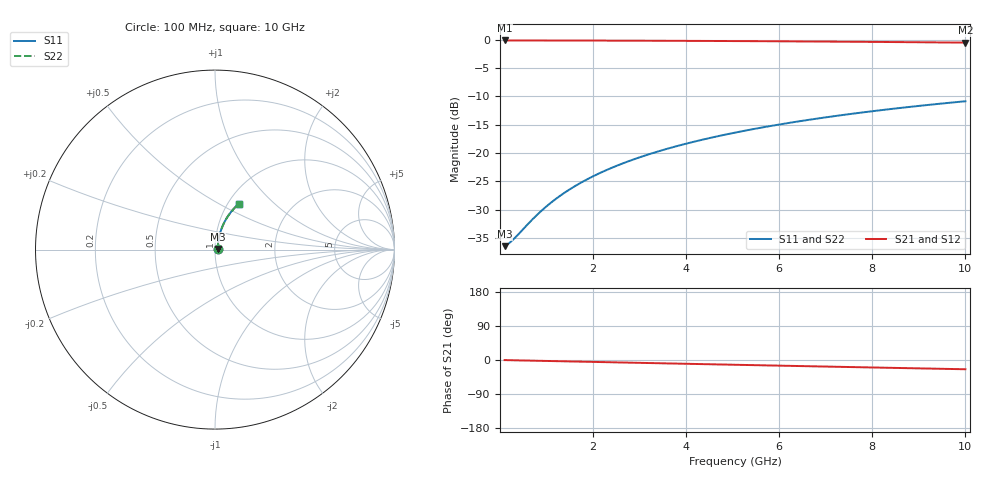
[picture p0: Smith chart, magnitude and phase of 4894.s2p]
# Hz S RI R 50.00
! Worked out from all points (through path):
!   100 points, 100 MHz to 10 GHz, reference 50 ohm
!   highest |S21| = -0.13 dB at 100 MHz (marker M1); lowest = -0.5 dB at 10 GHz (marker M2)
!   group delay of S21, straight-line fit = 6.8 ps
!   lowest |S11| = -36.4 dB at 100 MHz (marker M3), VSWR 1.03, Z = 51.5 + j0.306 ohm
!   |S11| at or under -10 dB: start of sweep to end of sweep
!   |S22| runs from -36.4 to -10.9 dB; largest |S21 - S12| = 0
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1e8  0.0148 0.00297  0.9852 -0.00431  0.9852 -0.00431  0.0148 0.00297
2e8  0.015 0.00594  0.985 -0.00862  0.985 -0.00862  0.015 0.00594
3e8  0.0151 0.0089  0.9849 -0.0129  0.9849 -0.0129  0.0151 0.0089
7e8  0.0158 0.0207  0.9841 -0.0302  0.9841 -0.0302  0.0158 0.0207
8e8  0.016 0.0237  0.9839 -0.0345  0.9839 -0.0345  0.016 0.0237
1e9  0.0166 0.0296  0.9833 -0.0431  0.9833 -0.0431  0.0166 0.0296
1.2e9  0.0172 0.0355  0.9827 -0.0516  0.9827 -0.0516  0.0172 0.0355
1.4e9  0.0179 0.0414  0.9819 -0.0602  0.9819 -0.0602  0.0179 0.0414
1.6e9  0.0187 0.0472  0.981 -0.0688  0.981 -0.0688  0.0187 0.0472
1.8e9  0.0196 0.0531  0.98 -0.0773  0.98 -0.0773  0.0196 0.0531
2.1e9  0.0212 0.0618  0.9784 -0.0901  0.9784 -0.0901  0.0212 0.0618
2.5e9  0.0236 0.0734  0.9758 -0.107  0.9758 -0.107  0.0236 0.0734
2.9e9  0.0265 0.0848  0.9727 -0.1238  0.9727 -0.1238  0.0265 0.0848
3.4e9  0.0305 0.0989  0.9684 -0.1447  0.9684 -0.1447  0.0305 0.0989
3.8e9  0.0342 0.1101  0.9644 -0.1612  0.9644 -0.1612  0.0342 0.1101
4.2e9  0.0383 0.121  0.9601 -0.1776  0.9601 -0.1776  0.0383 0.121
5.1e9  0.0487 0.1451  0.9489 -0.2138  0.9489 -0.2138  0.0487 0.1451
5.9e9  0.0594 0.1655  0.9373 -0.2451  0.9373 -0.2451  0.0594 0.1655
6.7e9  0.0714 0.1851  0.9244 -0.2755  0.9244 -0.2755  0.0714 0.1851
7.5e9  0.0846 0.2036  0.9101 -0.3049  0.9101 -0.3049  0.0846 0.2036
8.4e9  0.1007 0.2232  0.8927 -0.3367  0.8927 -0.3367  0.1007 0.2232
1e10  0.1323 0.2543  0.8583 -0.3898  0.8583 -0.3898  0.1323 0.2543
